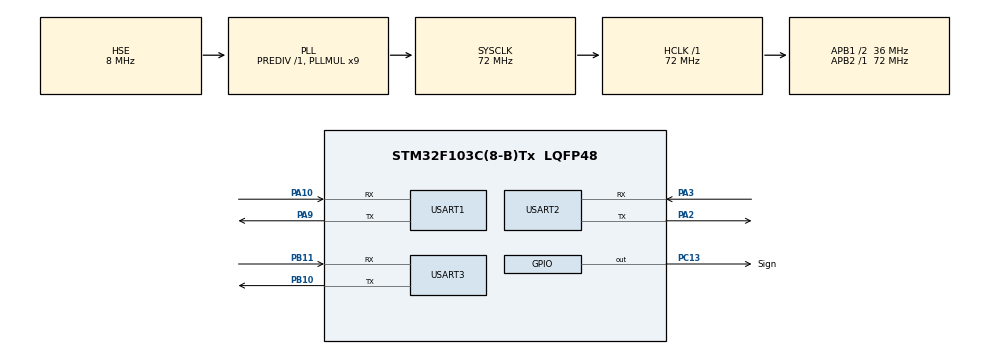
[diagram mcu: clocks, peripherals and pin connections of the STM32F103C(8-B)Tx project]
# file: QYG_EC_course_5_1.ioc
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Mcu.Family=STM32F1
Mcu.Name=STM32F103C(8-B)Tx
Mcu.Package=LQFP48
NVIC.PriorityGroup=NVIC_PRIORITYGROUP_4
NVIC.USART1_IRQn=true\:0\:0\:false\:false\:true\:true\:true\:true
NVIC.USART2_IRQn=true\:0\:0\:false\:false\:true\:true\:true\:true
PA10.Mode=Asynchronous
PA10.Signal=USART1_RX
PA13.Mode=Serial_Wire
PA13.Signal=SYS_JTMS-SWDIO
PA14.Mode=Serial_Wire
PA14.Signal=SYS_JTCK-SWCLK
PA2.Mode=Asynchronous
PA2.Signal=USART2_TX
PA3.Mode=Asynchronous
PA3.Signal=USART2_RX
PA9.Mode=Asynchronous
PA9.Signal=USART1_TX
PB10.Mode=Asynchronous
PB10.Signal=USART3_TX
PB11.Mode=Asynchronous
PB11.Signal=USART3_RX
PC13-TAMPER-RTC.GPIO_Label=Sign
PC13-TAMPER-RTC.Signal=GPIO_Output
PD0-OSC_IN.Mode=HSE-External-Oscillator
PD0-OSC_IN.Signal=RCC_OSC_IN
PD1-OSC_OUT.Mode=HSE-External-Oscillator
PD1-OSC_OUT.Signal=RCC_OSC_OUT
ProjectManager.HeapSize=0x200
ProjectManager.StackSize=0x400
ProjectManager.TargetToolchain=CMake
RCC.AHBFreq_Value=72000000
RCC.APB1CLKDivider=RCC_HCLK_DIV2
RCC.APB1Freq_Value=36000000
RCC.APB1TimFreq_Value=72000000
RCC.APB2Freq_Value=72000000
RCC.APB2TimFreq_Value=72000000
RCC.HCLKFreq_Value=72000000
RCC.PLLMUL=RCC_PLL_MUL9
RCC.PLLSourceVirtual=RCC_PLLSOURCE_HSE
RCC.SYSCLKFreq_VALUE=72000000
RCC.SYSCLKSource=RCC_SYSCLKSOURCE_PLLCLK
RCC.USBFreq_Value=72000000
USART1.VirtualMode=VM_ASYNC
USART2.VirtualMode=VM_ASYNC
USART3.VirtualMode=VM_ASYNC
board=custom

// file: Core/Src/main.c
/* USER CODE BEGIN Header */
/**
  ******************************************************************************
  * @file           : main.c
  * @brief          : Main program body
  ******************************************************************************
  * @attention
  *
  * Copyright (c) 2026 STMicroelectronics.
  * All rights reserved.
  *
  * This software is licensed under terms that can be found in the LICENSE file
  * in the root directory of this software component.
  * If no LICENSE file comes with this software, it is provided AS-IS.
  *
  ******************************************************************************
  */
/* USER CODE END Header */
#include "main.h"
#include "usart.h"
#include "gpio.h"

/* USER CODE BEGIN Includes */
#include "stdbool.h"
#include "stdio.h"
#include "math.h"
/* USER CODE END Includes */

/* USER CODE BEGIN PD */
#define MODE_ONE   1
#define MODE_TWO   0
#define MODE_THREE 0
#define MODE_FOUR  0
/* USER CODE END PD */

/* USER CODE BEGIN PV */
uint8_t  RoboMaster[]        = "RoboMaster 2027\r\n";

#if MODE_TWO

uint8_t  rx_byte_2;

#endif

#if MODE_THREE

uint8_t  tx_buffer[2] = {'Q', 'Y'};
uint8_t  rx_buffer[2] = {0};
uint64_t rx_timeout     =  0 ;
bool     rx_flag        = false;

#endif

#if MODE_FOUR

uint64_t tick            = 0;
float    vofa_channel[2] = {0.0f, 0.0f};

#endif

/* USER CODE END PV */

void SystemClock_Config(void);

/* USER CODE BEGIN 0 */
#if MODE_TWO

void HAL_UART_RxCpltCallback(UART_HandleTypeDef *huart)
{
  if(huart->Instance == USART1)
  {
    if(rx_byte_2 == 'r'){
      HAL_UART_Transmit_IT(&huart1, RoboMaster, sizeof(RoboMaster));
      HAL_GPIO_TogglePin(Sign_GPIO_Port, Sign_Pin);
    }

    HAL_UART_Receive_IT(&huart1, &rx_byte_2, sizeof(rx_byte_2));
  }
}

#endif

#if MODE_THREE

void HAL_UART_RxCpltCallback(UART_HandleTypeDef *huart)
{
  if(huart->Instance == USART1)
  {
    rx_flag    = true;
    rx_timeout = 0;

    HAL_UART_Transmit_IT(&huart1, rx_buffer, sizeof(rx_buffer));

    HAL_UART_Receive_IT(&huart1, rx_buffer, sizeof(rx_buffer));
  }
}

#endif

#if MODE_FOUR

int _write(int file, char *ch, int len)
{
    (void)file;
    if(HAL_UART_GetState(&huart3) == HAL_UART_STATE_READY) {
        HAL_UART_Transmit(&huart3, (uint8_t *)ch, (uint16_t)len, 0xFFFF);
    }
    return len;
}

#endif

/* USER CODE END 0 */

int main(void)
{

  /* MCU Configuration--------------------------------------------------------*/

  /* Reset of all peripherals, Initializes the Flash interface and the Systick. */
  HAL_Init();

  /* Configure the system clock */
  SystemClock_Config();

  /* Initialize all configured peripherals */
  MX_GPIO_Init();
  MX_USART1_UART_Init();
  MX_USART2_UART_Init();
  MX_USART3_UART_Init();
  /* USER CODE BEGIN 2 */
  #if MODE_TWO

  HAL_UART_Receive_IT(&huart1, &rx_byte_2, sizeof(rx_byte_2));

  #endif

  #if MODE_THREE

  HAL_UART_Receive_IT(&huart1, rx_buffer, sizeof(rx_buffer));

  #endif

  #if MODE_FOUR

  setvbuf(stdout, NULL, _IONBF, 0);

  #endif
  /* USER CODE END 2 */

  /* Infinite loop */
  /* USER CODE BEGIN WHILE */
  while (1)
  {
    #if MODE_ONE

    uint8_t rx_byte;
    if(HAL_UART_Receive(&huart1, &rx_byte, 1, 0xFFFF) == HAL_OK){
      if(rx_byte == 'r'){
        HAL_UART_Transmit(&huart1, RoboMaster, sizeof(RoboMaster), 0xFFFF);
        HAL_GPIO_TogglePin(Sign_GPIO_Port, Sign_Pin);
      }
    }

    #endif

    #if MODE_THREE

    HAL_UART_Transmit_IT(&huart2, tx_buffer, sizeof(tx_buffer));

    if(rx_flag){
      HAL_GPIO_TogglePin(Sign_GPIO_Port, Sign_Pin);
    }

    if(rx_timeout++ > 10){
      rx_flag = false;
      rx_timeout = 10;
    }

    HAL_Delay(100);

    #endif

    #if MODE_FOUR

    float x_axis = 0.0f;

    tick++;

    vofa_channel[0] = sin(2 * 3.1415926 * 0.5 * tick / 1000);
    vofa_channel[1] = cos(2 * 3.1415926 * 0.5 * tick / 1000);

    printf("%.6f, %.6f, %.6f\r\n",x_axis, vofa_channel[0], vofa_channel[1]);

    if(tick % 100 == 0){
      HAL_GPIO_TogglePin(Sign_GPIO_Port, Sign_Pin);
    }
    HAL_Delay(1);

    #endif

    /* USER CODE END WHILE */

  }
}

void SystemClock_Config(void)
{
  RCC_OscInitTypeDef RCC_OscInitStruct = {0};
  RCC_ClkInitTypeDef RCC_ClkInitStruct = {0};

  /** Initializes the RCC Oscillators according to the specified parameters
  * in the RCC_OscInitTypeDef structure.
  */
  RCC_OscInitStruct.OscillatorType = RCC_OSCILLATORTYPE_HSE;
  RCC_OscInitStruct.HSEState = RCC_HSE_ON;
  RCC_OscInitStruct.HSEPredivValue = RCC_HSE_PREDIV_DIV1;
  RCC_OscInitStruct.HSIState = RCC_HSI_ON;
  RCC_OscInitStruct.PLL.PLLState = RCC_PLL_ON;
  RCC_OscInitStruct.PLL.PLLSource = RCC_PLLSOURCE_HSE;
  RCC_OscInitStruct.PLL.PLLMUL = RCC_PLL_MUL9;
  if (HAL_RCC_OscConfig(&RCC_OscInitStruct) != HAL_OK)
  {
    Error_Handler();
  }

  /** Initializes the CPU, AHB and APB buses clocks
  */
  RCC_ClkInitStruct.ClockType = RCC_CLOCKTYPE_HCLK|RCC_CLOCKTYPE_SYSCLK
                              |RCC_CLOCKTYPE_PCLK1|RCC_CLOCKTYPE_PCLK2;
  RCC_ClkInitStruct.SYSCLKSource = RCC_SYSCLKSOURCE_PLLCLK;
  RCC_ClkInitStruct.AHBCLKDivider = RCC_SYSCLK_DIV1;
  RCC_ClkInitStruct.APB1CLKDivider = RCC_HCLK_DIV2;
  RCC_ClkInitStruct.APB2CLKDivider = RCC_HCLK_DIV1;

  if (HAL_RCC_ClockConfig(&RCC_ClkInitStruct, FLASH_LATENCY_2) != HAL_OK)
  {
    Error_Handler();
  }
}

void Error_Handler(void)
{
  __disable_irq();
  while (1)
  {
  }
}
